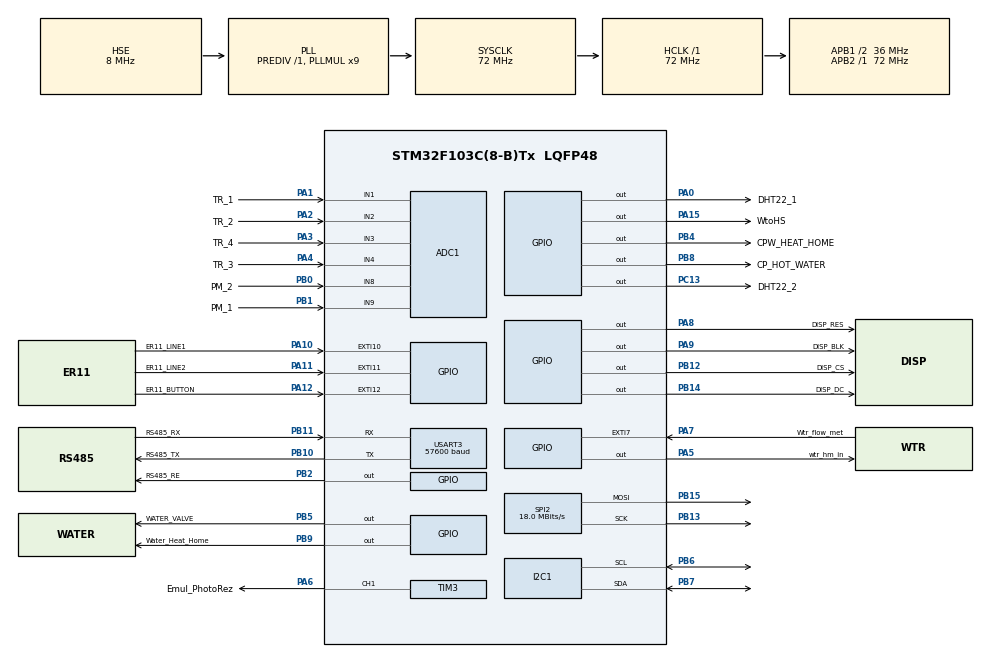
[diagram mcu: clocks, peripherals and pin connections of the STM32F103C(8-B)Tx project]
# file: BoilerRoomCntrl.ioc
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ADC1.Channel-0\#ChannelRegularConversion=ADC_CHANNEL_9
ADC1.NbrOfConversionFlag=1
ADC1.Rank-0\#ChannelRegularConversion=1
ADC1.SamplingTime-0\#ChannelRegularConversion=ADC_SAMPLETIME_1CYCLE_5
ADC1.master=1
Dma.Request0=SPI2_TX
Dma.SPI2_TX.0.Direction=DMA_MEMORY_TO_PERIPH
Dma.SPI2_TX.0.Instance=DMA1_Channel5
Dma.SPI2_TX.0.MemDataAlignment=DMA_MDATAALIGN_BYTE
Dma.SPI2_TX.0.MemInc=DMA_MINC_ENABLE
Dma.SPI2_TX.0.Mode=DMA_CIRCULAR
Dma.SPI2_TX.0.PeriphDataAlignment=DMA_PDATAALIGN_BYTE
Dma.SPI2_TX.0.PeriphInc=DMA_PINC_DISABLE
Dma.SPI2_TX.0.Priority=DMA_PRIORITY_LOW
FREERTOS.Tasks01=defaultTask,0,128,StartDefaultTask,Default,NULL,Dynamic,NULL,NULL;sensReadTask,0,128,StartSensReadTask,Default,NULL,Dynamic,NULL,NULL;dispTask,0,400,StartDispTask,Default,NULL,Dynamic,NULL,NULL
FREERTOS.configUSE_NEWLIB_REENTRANT=1
I2C1.I2C_Mode=I2C_Standard
Mcu.Family=STM32F1
Mcu.Name=STM32F103C(8-B)Tx
Mcu.Package=LQFP48
NVIC.DMA1_Channel5_IRQn=true\:5\:0\:false\:false\:true\:true\:false\:true\:true
NVIC.EXTI15_10_IRQn=true\:5\:0\:false\:false\:true\:false\:true\:true\:true
NVIC.EXTI9_5_IRQn=true\:5\:0\:false\:false\:true\:false\:true\:true\:true
NVIC.I2C1_ER_IRQn=true\:5\:0\:false\:false\:true\:true\:true\:true\:true
NVIC.PriorityGroup=NVIC_PRIORITYGROUP_4
NVIC.TIM1_UP_IRQn=true\:15\:0\:false\:false\:true\:false\:false\:true\:true
NVIC.TIM2_IRQn=true\:5\:0\:false\:false\:true\:true\:true\:true\:true
NVIC.TIM4_IRQn=true\:5\:0\:false\:false\:true\:true\:true\:true\:true
NVIC.TimeBase=TIM1_UP_IRQn
NVIC.TimeBaseIP=TIM1
NVIC.USART3_IRQn=true\:5\:0\:false\:false\:true\:true\:true\:true\:true
PA0-WKUP.GPIO_Label=DHT22_1
PA0-WKUP.Signal=GPIO_Output
PA1.GPIO_Label=TR_1
PA1.Signal=ADCx_IN1
PA10.GPIO_Label=ER11_LINE1
PA10.Signal=GPXTI10
PA11.GPIO_Label=ER11_LINE2
PA11.Signal=GPXTI11
PA12.GPIO_Label=ER11_BUTTON
PA12.GPIO_PuPd=GPIO_NOPULL
PA12.Signal=GPXTI12
PA13.Mode=Serial_Wire
PA13.Signal=SYS_JTMS-SWDIO
PA14.Mode=Serial_Wire
PA14.Signal=SYS_JTCK-SWCLK
PA15.GPIO_Label=WtoHS
PA15.GPIO_PuPd=GPIO_PULLDOWN
PA15.Signal=GPIO_Output
PA2.GPIO_Label=TR_2
PA2.Signal=ADCx_IN2
PA3.GPIO_Label=TR_4
PA3.Signal=ADCx_IN3
PA4.GPIO_Label=TR_3
PA4.Signal=ADCx_IN4
PA5.GPIO_Label=wtr_hm_in
PA5.Signal=GPIO_Output
PA6.GPIO_Label=Emul_PhotoRez
PA6.Signal=S_TIM3_CH1
PA7.GPIO_Label=Wtr_flow_met
PA7.Signal=GPXTI7
PA8.GPIO_Label=DISP_RES
PA8.GPIO_PuPd=GPIO_PULLUP
PA8.Signal=GPIO_Output
PA9.GPIO_Label=DISP_BLK
PA9.GPIO_PuPd=GPIO_PULLDOWN
PA9.Signal=GPIO_Output
PB0.GPIO_Label=PM_2
PB0.Signal=ADCx_IN8
PB1.GPIO_Label=PM_1
PB1.Signal=ADCx_IN9
PB10.GPIO_Label=RS485_TX
PB10.Mode=Asynchronous
PB10.Signal=USART3_TX
PB11.GPIO_Label=RS485_RX
PB11.Mode=Asynchronous
PB11.Signal=USART3_RX
PB12.GPIO_Label=DISP_CS
PB12.GPIO_PuPd=GPIO_PULLUP
PB12.Signal=GPIO_Output
PB13.Mode=TX_Only_Simplex_Unidirect_Master
PB13.Signal=SPI2_SCK
PB14.GPIO_Label=DISP_DC
PB14.GPIO_PuPd=GPIO_PULLUP
PB14.Signal=GPIO_Output
PB15.Mode=TX_Only_Simplex_Unidirect_Master
PB15.Signal=SPI2_MOSI
PB2.GPIO_Label=RS485_RE
PB2.Signal=GPIO_Output
PB4.GPIO_Label=CPW_HEAT_HOME
PB4.GPIO_PuPd=GPIO_PULLDOWN
PB4.Signal=GPIO_Output
PB5.GPIO_Label=WATER_VALVE
PB5.Signal=GPIO_Output
PB6.GPIO_Pu=GPIO_PULLUP
PB6.Mode=I2C
PB6.Signal=I2C1_SCL
PB7.GPIO_Pu=GPIO_PULLUP
PB7.Mode=I2C
PB7.Signal=I2C1_SDA
PB8.GPIO_Label=CP_HOT_WATER
PB8.GPIO_PuPd=GPIO_PULLDOWN
PB8.Signal=GPIO_Output
PB9.GPIO_Label=Water_Heat_Home
PB9.GPIO_PuPd=GPIO_PULLDOWN
PB9.Signal=GPIO_Output
PC13-TAMPER-RTC.GPIO_Label=DHT22_2
PC13-TAMPER-RTC.Signal=GPIO_Output
PC14-OSC32_IN.Mode=LSE-External-Oscillator
PC14-OSC32_IN.Signal=RCC_OSC32_IN
PC15-OSC32_OUT.Mode=LSE-External-Oscillator
PC15-OSC32_OUT.Signal=RCC_OSC32_OUT
PD0-OSC_IN.Mode=HSE-External-Oscillator
PD0-OSC_IN.Signal=RCC_OSC_IN
PD1-OSC_OUT.Mode=HSE-External-Oscillator
PD1-OSC_OUT.Signal=RCC_OSC_OUT
ProjectManager.HeapSize=0x200
ProjectManager.StackSize=0x400
ProjectManager.TargetToolchain=STM32CubeIDE
RCC.ADCPresc=RCC_ADCPCLK2_DIV6
RCC.AHBFreq_Value=72000000
RCC.APB1CLKDivider=RCC_HCLK_DIV2
RCC.APB1Freq_Value=36000000
RCC.APB1TimFreq_Value=72000000
RCC.APB2Freq_Value=72000000
RCC.APB2TimFreq_Value=72000000
RCC.HCLKFreq_Value=72000000
RCC.PLLMUL=RCC_PLL_MUL9
RCC.PLLSourceVirtual=RCC_PLLSOURCE_HSE
RCC.RTCClockSelection=RCC_RTCCLKSOURCE_LSE
RCC.SYSCLKFreq_VALUE=72000000
RCC.SYSCLKSource=RCC_SYSCLKSOURCE_PLLCLK
RCC.USBFreq_Value=72000000
RTC.Date=28
RTC.Format=RTC_FORMAT_BIN
RTC.Minutes=5
RTC.Month=RTC_MONTH_MAY
RTC.WeekDay=RTC_WEEKDAY_THURSDAY
RTC.Year=20
SH.ADCx_IN1.0=ADC1_IN1,IN1
SH.ADCx_IN2.0=ADC1_IN2,IN2
SH.ADCx_IN3.0=ADC1_IN3,IN3
SH.ADCx_IN4.0=ADC1_IN4,IN4
SH.ADCx_IN8.0=ADC1_IN8,IN8
SH.ADCx_IN9.0=ADC1_IN9,IN9
SH.S_TIM3_CH1.0=TIM3_CH1,PWM Generation1 CH1
SPI2.CalculateBaudRate=18.0 MBits/s
SPI2.Direction=SPI_DIRECTION_2LINES
SPI2.Mode=SPI_MODE_MASTER
SPI2.VirtualType=VM_MASTER
TIM3.Channel-PWM\ Generation1\ CH1=TIM_CHANNEL_1
TIM3.Period=65535
TIM3.Prescaler=20
TIM4.Period=1562
TIM4.Prescaler=71
USART3.BaudRate=57600
USART3.VirtualMode=VM_ASYNC
VP_FREERTOS_VS_CMSIS_V1.Mode=CMSIS_V1
VP_RTC_No_RTC_Output.Mode=RTC_OUT_NO
VP_RTC_VS_RTC_Activate.Mode=RTC_Enabled
VP_RTC_VS_RTC_Calendar.Mode=RTC_Calendar
VP_SYS_VS_tim1.Mode=TIM1
VP_TIM2_VS_ClockSourceINT.Mode=Internal
VP_TIM4_VS_ClockSourceINT.Mode=Internal
board=custom

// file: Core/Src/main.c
/* USER CODE BEGIN Header */
/**
  ******************************************************************************
  * @file           : main.c
  * @brief          : Main program body
  ******************************************************************************
  * @attention
  *
  * <h2><center>&copy; Copyright (c) 2020 STMicroelectronics.
  * All rights reserved.</center></h2>
  *
  * This software component is licensed by ST under BSD 3-Clause license,
  * the "License"; You may not use this file except in compliance with the
  * License. You may obtain a copy of the License at:
  *                        opensource.org/licenses/BSD-3-Clause
  *
  ******************************************************************************
  */
/* USER CODE END Header */
#include "main.h"
#include "cmsis_os.h"

/* USER CODE BEGIN Includes */
#include <string.h>
#include "../app/hal_utils.h"
#include "../app/lcd_ui.h"
#include "../app/thermistor_table.h"
#include "../ili9341/fonts.h"
#include "../ili9341/ili9341.h"
#include "DHT.h"
#include "constants.h"
#include "stdint.h"

/* USER CODE END Includes */

/* USER CODE BEGIN PD */

#define INIT_TIME 0

/* USER CODE END PD */

ADC_HandleTypeDef hadc1;

I2C_HandleTypeDef hi2c1;

RTC_HandleTypeDef hrtc;

SPI_HandleTypeDef hspi2;
DMA_HandleTypeDef hdma_spi2_tx;

TIM_HandleTypeDef htim2;
TIM_HandleTypeDef htim3;
TIM_HandleTypeDef htim4;

UART_HandleTypeDef huart3;

osThreadId defaultTaskHandle;
osThreadId sensReadTaskHandle;
osThreadId dispTaskHandle;
/* USER CODE BEGIN PV */

osMutexId sensorDataMutexHandle;

StManagePressHeatingSys managePressHeatingSys;

uint8_t channelsADCTr[] = {
    1, // Терморезистор 1
    2, // Терморезистор 2
    3, // Терморезистор 4
    4, // Терморезистор 3
};
uint8_t channelsADCPm[] = {
    8, // Датчик давления 1
    9  // Датчик давления 2
};

RTC_TimeTypeDef sTime = {0};
RTC_DateTypeDef DateToUpdate = {0};

float DHT22Temp = 0;
float DHT22Hum = 0;
float travg[enTrChanEnd];
float pmavg[enPmChanEnd];
uint32_t pmavgadc[enPmChanEnd];

uint8_t dma_spi_fl = 0;
uint32_t dma_spi_cnt = 1;

/* Global variable definitions (declared extern in main.h) */
uint32_t wtr_flow_met = 0;
int count_lt = 0;
int count_rt = 0;
int8_t enterButton = 0;
int8_t fl_on_off = 0;
uint8_t buff[UART_BUFFER_SIZE] = {0};
uint8_t cout_rcvUART = 0;
uint8_t fl_transmit_485 = 0;
uint8_t fl_endreceive485 = 0;
uint32_t tim4cnt = 0;
ModBusTypeDef modBusData;
uint8_t slaveID = MODBUS_SLAVE_ID;
uint16_t holdingRegs[HOLDING_REGS_SIZE_BR] = {0};

/* DHT global definitions (declared extern in DHT.h) */
uint8_t data[DHT22_DATA_SIZE] = {0};
uint8_t _pin = 0, _type = 0, _count = 0;
unsigned long _lastreadtime = 0;
char firstreading = 1;

/* ILI9341 SPI port */
SPI_HandleTypeDef* ILI9341_SPI_PORT;

/* Menu arrays (declared extern in mymenu.h) - defined in mymenu.c */
char strMenuValsData[menuCountElements][MENU_VALUE_STR_LEN] = {0};
char strMenuValsPoint[menuPCountElements][MENU_VALUE_STR_LEN] = {0};

/* Channel enums */
int enChannelsTr = en_tr1;
int enChannelsPm = en_pm1;

/* Display menu */
stDispMenu dm = {0};

/* USER CODE END PV */

void SystemClock_Config(void);
static void MX_GPIO_Init(void);
static void MX_DMA_Init(void);
static void MX_RTC_Init(void);
static void MX_ADC1_Init(void);
static void MX_I2C1_Init(void);
static void MX_SPI2_Init(void);
static void MX_TIM2_Init(void);
static void MX_TIM3_Init(void);
static void MX_TIM4_Init(void);
static void MX_USART3_UART_Init(void);
void StartDefaultTask(void const* argument);
void StartSensReadTask(void const* argument);
void StartDispTask(void const* argument);

int main(void)
{

    /* MCU Configuration--------------------------------------------------------*/

    /* Reset of all peripherals, Initializes the Flash interface and the Systick. */
    HAL_Init();

    /* Configure the system clock */
    SystemClock_Config();

    /* Initialize all configured peripherals */
    MX_GPIO_Init();
    MX_DMA_Init();
    MX_RTC_Init();
    MX_ADC1_Init();
    MX_I2C1_Init();
    MX_SPI2_Init();
    MX_TIM2_Init();
    MX_TIM3_Init();
    MX_TIM4_Init();
    MX_USART3_UART_Init();
    /* USER CODE BEGIN 2 */
    wtr_flow_met = 0;
    count_lt = 0;
    count_rt = 0;
    enterButton = 1;
    fl_on_off = 0;
    fl_endreceive485 = 0;
    slaveID = 1;
    /* USER CODE END 2 */

    /* USER CODE BEGIN RTOS_TIMERS */
    /* start timers, add new ones, ... */
    HAL_TIM_PWM_Start(&htim3, TIM_CHANNEL_1);
    TIM3->CCR1 = 0;

    /* USER CODE END RTOS_TIMERS */

    /* Create the mutex for shared sensor data */
    osMutexDef(sensorDataMutex);
    sensorDataMutexHandle = osMutexCreate(osMutex(sensorDataMutex));

    /* Create the thread(s) */
    /* definition and creation of defaultTask */
    osThreadDef(defaultTask, StartDefaultTask, osPriorityNormal, 0, TASK_STACK_DEFAULT);
    defaultTaskHandle = osThreadCreate(osThread(defaultTask), NULL);

    /* definition and creation of sensReadTask */
    osThreadDef(sensReadTask, StartSensReadTask, osPriorityNormal, 0, TASK_STACK_SENSOR);
    sensReadTaskHandle = osThreadCreate(osThread(sensReadTask), NULL);

    /* definition and creation of dispTask */
    osThreadDef(dispTask, StartDispTask, osPriorityNormal, 0, TASK_STACK_DISPLAY);
    dispTaskHandle = osThreadCreate(osThread(dispTask), NULL);

    /* Start scheduler */
    osKernelStart();

    /* We should never get here as control is now taken by the scheduler */

    /* Infinite loop */
    while (1) {

    }
}

void SystemClock_Config(void)
{
    RCC_OscInitTypeDef RCC_OscInitStruct = {0};
    RCC_ClkInitTypeDef RCC_ClkInitStruct = {0};
    RCC_PeriphCLKInitTypeDef PeriphClkInit = {0};

    /** Initializes the RCC Oscillators according to the specified parameters
  * in the RCC_OscInitTypeDef structure.
  */
    RCC_OscInitStruct.OscillatorType =
        RCC_OSCILLATORTYPE_HSE | RCC_OSCILLATORTYPE_LSE;
    RCC_OscInitStruct.HSEState = RCC_HSE_ON;
    RCC_OscInitStruct.HSEPredivValue = RCC_HSE_PREDIV_DIV1;
    RCC_OscInitStruct.LSEState = RCC_LSE_ON;
    RCC_OscInitStruct.HSIState = RCC_HSI_ON;
    RCC_OscInitStruct.PLL.PLLState = RCC_PLL_ON;
    RCC_OscInitStruct.PLL.PLLSource = RCC_PLLSOURCE_HSE;
    RCC_OscInitStruct.PLL.PLLMUL = RCC_PLL_MUL9;
    if (HAL_RCC_OscConfig(&RCC_OscInitStruct) != HAL_OK) {
        Error_Handler();
    }

    /** Initializes the CPU, AHB and APB buses clocks
  */
    RCC_ClkInitStruct.ClockType = RCC_CLOCKTYPE_HCLK | RCC_CLOCKTYPE_SYSCLK |
                                  RCC_CLOCKTYPE_PCLK1 | RCC_CLOCKTYPE_PCLK2;
    RCC_ClkInitStruct.SYSCLKSource = RCC_SYSCLKSOURCE_PLLCLK;
    RCC_ClkInitStruct.AHBCLKDivider = RCC_SYSCLK_DIV1;
    RCC_ClkInitStruct.APB1CLKDivider = RCC_HCLK_DIV2;
    RCC_ClkInitStruct.APB2CLKDivider = RCC_HCLK_DIV1;

    if (HAL_RCC_ClockConfig(&RCC_ClkInitStruct, FLASH_LATENCY_2) != HAL_OK) {
        Error_Handler();
    }
    PeriphClkInit.PeriphClockSelection = RCC_PERIPHCLK_RTC | RCC_PERIPHCLK_ADC;
    PeriphClkInit.RTCClockSelection = RCC_RTCCLKSOURCE_LSE;
    PeriphClkInit.AdcClockSelection = RCC_ADCPCLK2_DIV6;
    if (HAL_RCCEx_PeriphCLKConfig(&PeriphClkInit) != HAL_OK) {
        Error_Handler();
    }
}

static void MX_ADC1_Init(void)
{

    ADC_ChannelConfTypeDef sConfig = {0};

    /** Common config
  */
    hadc1.Instance = ADC1;
    hadc1.Init.ScanConvMode = ADC_SCAN_DISABLE;
    hadc1.Init.ContinuousConvMode = DISABLE;
    hadc1.Init.DiscontinuousConvMode = DISABLE;
    hadc1.Init.ExternalTrigConv = ADC_SOFTWARE_START;
    hadc1.Init.DataAlign = ADC_DATAALIGN_RIGHT;
    hadc1.Init.NbrOfConversion = 1;
    if (HAL_ADC_Init(&hadc1) != HAL_OK) {
        Error_Handler();
    }

    /** Configure Regular Channel
  */
    sConfig.Channel = ADC_CHANNEL_9;
    sConfig.Rank = ADC_REGULAR_RANK_1;
    sConfig.SamplingTime = ADC_SAMPLETIME_1CYCLE_5;
    if (HAL_ADC_ConfigChannel(&hadc1, &sConfig) != HAL_OK) {
        Error_Handler();
    }
}

static void MX_I2C1_Init(void)
{

    hi2c1.Instance = I2C1;
    hi2c1.Init.ClockSpeed = I2C_CLOCK_SPEED;
    hi2c1.Init.DutyCycle = I2C_DUTYCYCLE_2;
    hi2c1.Init.OwnAddress1 = 0;
    hi2c1.Init.AddressingMode = I2C_ADDRESSINGMODE_7BIT;
    hi2c1.Init.DualAddressMode = I2C_DUALADDRESS_DISABLE;
    hi2c1.Init.OwnAddress2 = 0;
    hi2c1.Init.GeneralCallMode = I2C_GENERALCALL_DISABLE;
    hi2c1.Init.NoStretchMode = I2C_NOSTRETCH_DISABLE;
    if (HAL_I2C_Init(&hi2c1) != HAL_OK) {
        Error_Handler();
    }
}

static void MX_RTC_Init(void)
{

    /** Initialize RTC Only
  */
    hrtc.Instance = RTC;
    hrtc.Init.AsynchPrediv = RTC_AUTO_1_SECOND;
    hrtc.Init.OutPut = RTC_OUTPUTSOURCE_NONE;
    if (HAL_RTC_Init(&hrtc) != HAL_OK) {
        Error_Handler();
    }

    /* USER CODE BEGIN Check_RTC_BKUP */
    if (INIT_TIME) {
        /* USER CODE END Check_RTC_BKUP */

        /** Initialize RTC and set the Time and Date
  */
        sTime.Hours = RTC_DEFAULT_HOUR;
        sTime.Minutes = RTC_DEFAULT_MINUTE;
        sTime.Seconds = RTC_DEFAULT_SECOND;

        if (HAL_RTC_SetTime(&hrtc, &sTime, RTC_FORMAT_BIN) != HAL_OK) {
            Error_Handler();
        }
        DateToUpdate.WeekDay = RTC_WEEKDAY_MONDAY;
        DateToUpdate.Month = RTC_DEFAULT_MONTH;
        DateToUpdate.Date = RTC_DEFAULT_DAY;
        DateToUpdate.Year = RTC_DEFAULT_YEAR;

        if (HAL_RTC_SetDate(&hrtc, &DateToUpdate, RTC_FORMAT_BIN) != HAL_OK) {
            Error_Handler();
        }
    }
}

static void MX_SPI2_Init(void)
{

    /* SPI2 parameter configuration*/
    hspi2.Instance = SPI2;
    hspi2.Init.Mode = SPI_MODE_MASTER;
    hspi2.Init.Direction = SPI_DIRECTION_2LINES;
    hspi2.Init.DataSize = SPI_DATASIZE_8BIT;
    hspi2.Init.CLKPolarity = SPI_POLARITY_LOW;
    hspi2.Init.CLKPhase = SPI_PHASE_1EDGE;
    hspi2.Init.NSS = SPI_NSS_SOFT;
    hspi2.Init.BaudRatePrescaler = SPI_BAUDRATEPRESCALER_2;
    hspi2.Init.FirstBit = SPI_FIRSTBIT_MSB;
    hspi2.Init.TIMode = SPI_TIMODE_DISABLE;
    hspi2.Init.CRCCalculation = SPI_CRCCALCULATION_DISABLE;
    hspi2.Init.CRCPolynomial = 10;
    if (HAL_SPI_Init(&hspi2) != HAL_OK) {
        Error_Handler();
    }
}

static void MX_TIM2_Init(void)
{

    TIM_ClockConfigTypeDef sClockSourceConfig = {0};
    TIM_MasterConfigTypeDef sMasterConfig = {0};

    htim2.Instance = TIM2;
    htim2.Init.Prescaler = 0;
    htim2.Init.CounterMode = TIM_COUNTERMODE_UP;
    htim2.Init.Period = 65535;
    htim2.Init.ClockDivision = TIM_CLOCKDIVISION_DIV1;
    htim2.Init.AutoReloadPreload = TIM_AUTORELOAD_PRELOAD_DISABLE;
    if (HAL_TIM_Base_Init(&htim2) != HAL_OK) {
        Error_Handler();
    }
    sClockSourceConfig.ClockSource = TIM_CLOCKSOURCE_INTERNAL;
    if (HAL_TIM_ConfigClockSource(&htim2, &sClockSourceConfig) != HAL_OK) {
        Error_Handler();
    }
    sMasterConfig.MasterOutputTrigger = TIM_TRGO_RESET;
    sMasterConfig.MasterSlaveMode = TIM_MASTERSLAVEMODE_DISABLE;
    if (HAL_TIMEx_MasterConfigSynchronization(&htim2, &sMasterConfig) !=
        HAL_OK) {
        Error_Handler();
    }
}

static void MX_TIM3_Init(void)
{

    TIM_MasterConfigTypeDef sMasterConfig = {0};
    TIM_OC_InitTypeDef sConfigOC = {0};

    htim3.Instance = TIM3;
    htim3.Init.Prescaler = 20;
    htim3.Init.CounterMode = TIM_COUNTERMODE_UP;
    htim3.Init.Period = 65535;
    htim3.Init.ClockDivision = TIM_CLOCKDIVISION_DIV1;
    htim3.Init.AutoReloadPreload = TIM_AUTORELOAD_PRELOAD_DISABLE;
    if (HAL_TIM_PWM_Init(&htim3) != HAL_OK) {
        Error_Handler();
    }
    sMasterConfig.MasterOutputTrigger = TIM_TRGO_RESET;
    sMasterConfig.MasterSlaveMode = TIM_MASTERSLAVEMODE_DISABLE;
    if (HAL_TIMEx_MasterConfigSynchronization(&htim3, &sMasterConfig) !=
        HAL_OK) {
        Error_Handler();
    }
    sConfigOC.OCMode = TIM_OCMODE_PWM1;
    sConfigOC.Pulse = 0;
    sConfigOC.OCPolarity = TIM_OCPOLARITY_HIGH;
    sConfigOC.OCFastMode = TIM_OCFAST_DISABLE;
    if (HAL_TIM_PWM_ConfigChannel(&htim3, &sConfigOC, TIM_CHANNEL_1) !=
        HAL_OK) {
        Error_Handler();
    }
    HAL_TIM_MspPostInit(&htim3);
}

static void MX_TIM4_Init(void)
{

    TIM_ClockConfigTypeDef sClockSourceConfig = {0};
    TIM_MasterConfigTypeDef sMasterConfig = {0};

    htim4.Instance = TIM4;
    htim4.Init.Prescaler = 71;
    htim4.Init.CounterMode = TIM_COUNTERMODE_UP;
    htim4.Init.Period = 1562;
    htim4.Init.ClockDivision = TIM_CLOCKDIVISION_DIV1;
    htim4.Init.AutoReloadPreload = TIM_AUTORELOAD_PRELOAD_DISABLE;
    if (HAL_TIM_Base_Init(&htim4) != HAL_OK) {
        Error_Handler();
    }
    sClockSourceConfig.ClockSource = TIM_CLOCKSOURCE_INTERNAL;
    if (HAL_TIM_ConfigClockSource(&htim4, &sClockSourceConfig) != HAL_OK) {
        Error_Handler();
    }
    sMasterConfig.MasterOutputTrigger = TIM_TRGO_RESET;
    sMasterConfig.MasterSlaveMode = TIM_MASTERSLAVEMODE_DISABLE;
    if (HAL_TIMEx_MasterConfigSynchronization(&htim4, &sMasterConfig) !=
        HAL_OK) {
        Error_Handler();
    }
}

static void MX_USART3_UART_Init(void)
{

    huart3.Instance = USART3;
    huart3.Init.BaudRate = 57600;
    huart3.Init.WordLength = UART_WORDLENGTH_8B;
    huart3.Init.StopBits = UART_STOPBITS_1;
    huart3.Init.Parity = UART_PARITY_NONE;
    huart3.Init.Mode = UART_MODE_TX_RX;
    huart3.Init.HwFlowCtl = UART_HWCONTROL_NONE;
    huart3.Init.OverSampling = UART_OVERSAMPLING_16;
    if (HAL_UART_Init(&huart3) != HAL_OK) {
        Error_Handler();
    }
}

static void MX_DMA_Init(void)
{
    /* DMA controller clock enable */
    __HAL_RCC_DMA1_CLK_ENABLE();

    /* DMA interrupt init */
    /* DMA1_Channel5_IRQn interrupt configuration */
    HAL_NVIC_SetPriority(DMA1_Channel5_IRQn, 5, 0);
    HAL_NVIC_EnableIRQ(DMA1_Channel5_IRQn);
}

static void MX_GPIO_Init(void)
{
    GPIO_InitTypeDef GPIO_InitStruct = {0};

    /* GPIO Ports Clock Enable */
    __HAL_RCC_GPIOC_CLK_ENABLE();
    __HAL_RCC_GPIOD_CLK_ENABLE();
    __HAL_RCC_GPIOA_CLK_ENABLE();
    __HAL_RCC_GPIOB_CLK_ENABLE();

    /*Configure GPIO pin Output Level */
    HAL_GPIO_WritePin(DHT22_2_GPIO_Port, DHT22_2_Pin, GPIO_PIN_RESET);

    /*Configure GPIO pin Output Level */
    HAL_GPIO_WritePin(GPIOA,
                      DHT22_1_Pin | wtr_hm_in_Pin | DISP_RES_Pin |
                          DISP_BLK_Pin | WtoHS_Pin,
                      GPIO_PIN_RESET);

    /*Configure GPIO pin Output Level */
    HAL_GPIO_WritePin(GPIOB,
                      RS485_RE_Pin | DISP_CS_Pin | DISP_DC_Pin |
                          CPW_HEAT_HOME_Pin | WATER_VALVE_Pin |
                          CP_HOT_WATER_Pin | Water_Heat_Home_Pin,
                      GPIO_PIN_RESET);

    /*Configure GPIO pin : DHT22_2_Pin */
    GPIO_InitStruct.Pin = DHT22_2_Pin;
    GPIO_InitStruct.Mode = GPIO_MODE_OUTPUT_PP;
    GPIO_InitStruct.Pull = GPIO_NOPULL;
    GPIO_InitStruct.Speed = GPIO_SPEED_FREQ_LOW;
    HAL_GPIO_Init(DHT22_2_GPIO_Port, &GPIO_InitStruct);

    /*Configure GPIO pins : DHT22_1_Pin wtr_hm_in_Pin */
    GPIO_InitStruct.Pin = DHT22_1_Pin | wtr_hm_in_Pin;
    GPIO_InitStruct.Mode = GPIO_MODE_OUTPUT_PP;
    GPIO_InitStruct.Pull = GPIO_NOPULL;
    GPIO_InitStruct.Speed = GPIO_SPEED_FREQ_LOW;
    HAL_GPIO_Init(GPIOA, &GPIO_InitStruct);

    /*Configure GPIO pin : Wtr_flow_met_Pin */
    GPIO_InitStruct.Pin = Wtr_flow_met_Pin;
    GPIO_InitStruct.Mode = GPIO_MODE_IT_RISING;
    GPIO_InitStruct.Pull = GPIO_NOPULL;
    HAL_GPIO_Init(GPIOA, &GPIO_InitStruct);

    /*Configure GPIO pins : ER11_LINE1_Pin ER11_LINE2_Pin (quadrature encoder) */
    GPIO_InitStruct.Pin = ER11_LINE1_Pin | ER11_LINE2_Pin;
    GPIO_InitStruct.Mode = GPIO_MODE_IT_RISING_FALLING;
    GPIO_InitStruct.Pull = GPIO_PULLUP;
    HAL_GPIO_Init(GPIOA, &GPIO_InitStruct);

    /*Configure GPIO pin : ER11_BUTTON_Pin */
    GPIO_InitStruct.Pin = ER11_BUTTON_Pin;
    GPIO_InitStruct.Mode = GPIO_MODE_IT_RISING;
    GPIO_InitStruct.Pull = GPIO_NOPULL;
    HAL_GPIO_Init(GPIOA, &GPIO_InitStruct);

    /*Configure GPIO pins : RS485_RE_Pin WATER_VALVE_Pin */
    GPIO_InitStruct.Pin = RS485_RE_Pin | WATER_VALVE_Pin;
    GPIO_InitStruct.Mode = GPIO_MODE_OUTPUT_PP;
    GPIO_InitStruct.Pull = GPIO_NOPULL;
    GPIO_InitStruct.Speed = GPIO_SPEED_FREQ_LOW;
    HAL_GPIO_Init(GPIOB, &GPIO_InitStruct);

    /*Configure GPIO pins : DISP_CS_Pin DISP_DC_Pin */
    GPIO_InitStruct.Pin = DISP_CS_Pin | DISP_DC_Pin;
    GPIO_InitStruct.Mode = GPIO_MODE_OUTPUT_PP;
    GPIO_InitStruct.Pull = GPIO_PULLUP;
    GPIO_InitStruct.Speed = GPIO_SPEED_FREQ_LOW;
    HAL_GPIO_Init(GPIOB, &GPIO_InitStruct);

    /*Configure GPIO pin : DISP_RES_Pin */
    GPIO_InitStruct.Pin = DISP_RES_Pin;
    GPIO_InitStruct.Mode = GPIO_MODE_OUTPUT_PP;
    GPIO_InitStruct.Pull = GPIO_PULLUP;
    GPIO_InitStruct.Speed = GPIO_SPEED_FREQ_LOW;
    HAL_GPIO_Init(DISP_RES_GPIO_Port, &GPIO_InitStruct);

    /*Configure GPIO pins : DISP_BLK_Pin WtoHS_Pin */
    GPIO_InitStruct.Pin = DISP_BLK_Pin | WtoHS_Pin;
    GPIO_InitStruct.Mode = GPIO_MODE_OUTPUT_PP;
    GPIO_InitStruct.Pull = GPIO_PULLDOWN;
    GPIO_InitStruct.Speed = GPIO_SPEED_FREQ_LOW;
    HAL_GPIO_Init(GPIOA, &GPIO_InitStruct);

    /*Configure GPIO pins : CPW_HEAT_HOME_Pin CP_HOT_WATER_Pin Water_Heat_Home_Pin */
    GPIO_InitStruct.Pin =
        CPW_HEAT_HOME_Pin | CP_HOT_WATER_Pin | Water_Heat_Home_Pin;
    GPIO_InitStruct.Mode = GPIO_MODE_OUTPUT_PP;
    GPIO_InitStruct.Pull = GPIO_PULLDOWN;
    GPIO_InitStruct.Speed = GPIO_SPEED_FREQ_LOW;
    HAL_GPIO_Init(GPIOB, &GPIO_InitStruct);

    /* EXTI interrupt init*/
    HAL_NVIC_SetPriority(EXTI9_5_IRQn, 5, 0);
    HAL_NVIC_EnableIRQ(EXTI9_5_IRQn);

    HAL_NVIC_SetPriority(EXTI15_10_IRQn, 5, 0);
    HAL_NVIC_EnableIRQ(EXTI15_10_IRQn);

}

void StartDefaultTask(void const* argument)
{
    /* USER CODE BEGIN 5 */
    osDelay(DELAY_INIT_MS);
    const char wmsg[] = "Some data";
    char rmsg[sizeof(wmsg)];
    uint16_t devAddr = (I2C_EEPROM_ADDR << 1);
    uint16_t memAddr = I2C_MEM_ADDR_INIT;

    HAL_StatusTypeDef status;

    HAL_GPIO_WritePin(RS485_RE_GPIO_Port, RS485_RE_Pin, GPIO_PIN_RESET);
    modbus_configure(&modBusData, &huart3, slaveID, HOLDING_REGS_SIZE_BR,
                     holdingRegs);
    RCC->APB1ENR |= RCC_APB1ENR_USART3EN; // USART3 Clock ON
    USART3->CR1 |= USART_CR1_UE | USART_CR1_TE |
                   USART_CR1_RE |    // USART1 ON, TX ON, RX ON
                   USART_CR1_RXNEIE; // RXNE Int ON
    NVIC_EnableIRQ(USART3_IRQn);

    HAL_I2C_Mem_Write(&hi2c1, devAddr, memAddr, I2C_MEMADD_SIZE_16BIT,
                      (uint8_t*)wmsg, sizeof(wmsg), HAL_MAX_DELAY);
    for (;;) {
        status = HAL_I2C_IsDeviceReady(&hi2c1, devAddr, 1, HAL_MAX_DELAY);
        if (status == HAL_OK) {
            // !!!Чтобы заработало необходимо в stm32f1xx_hal_msp.c ///
            //    перенести __HAL_RCC_I2C1_CLK_ENABLE(); до                 ///
            //    __HAL_RCC_GPIOB_CLK_ENABLE();                                            ///
            HAL_I2C_Mem_Read(&hi2c1, devAddr, memAddr, I2C_MEMADD_SIZE_16BIT,
                             (uint8_t*)rmsg, sizeof(wmsg), I2C_TIMEOUT_MS);
        }
    }
    /* USER CODE END 5 */
}

void StartSensReadTask(void const* argument)
{
    /* USER CODE BEGIN StartSensReadTask */

    osDelay(DELAY_SENSOR_INIT_MS);
    DWT_Init();
    begin(DHT22_2_GPIO_Port, DHT22_2_Pin);

    HAL_ADCEx_Calibration_Start(&hadc1);

    int ADC; //ij = tTR_temper_volt_arr[0];
    float Rt;
    float RI;
    float RI_1;
    uint32_t start_time = millis();
    uint32_t update_time = DELAY_TIME_BASE_MS;
    char hum_mes = 1;
    char tmp_mes = 1;
    initManagePressHeatingSys(&managePressHeatingSys, PM_1_GPIO_Port, PM_1_Pin);

    /* Infinite loop */
    for (;;) {
        if (((start_time + update_time) < millis()) & tmp_mes) {
            float temp = readTemperature(DHT22_2_GPIO_Port, DHT22_2_Pin, 0x00);
            osMutexWait(sensorDataMutexHandle, osWaitForever);
            DHT22Temp = temp;
            osMutexRelease(sensorDataMutexHandle);
            start_time = millis();
            hum_mes = 1;
            tmp_mes = 0;
        }
        if (((start_time + update_time) < millis()) & hum_mes) {
            float hum = readHumidity(DHT22_2_GPIO_Port, DHT22_2_Pin);
            osMutexWait(sensorDataMutexHandle, osWaitForever);
            DHT22Hum = hum;
            osMutexRelease(sensorDataMutexHandle);
            start_time = millis();
            hum_mes = 0;
            tmp_mes = 1;
        }
        for (uint8_t j = 0; j < enTrChanEnd; j++) {
            ADC = ADC_Result(&hadc1, channelsADCTr[j]);
            Rt = THERMISTOR_BASE_R * ((THERMISTOR_REF_R * ADC) / (VOLT_DIV_4095 - ADC));
            for (uint8_t i = 0; i < THERMISTOR_TABLE_SIZE; i++) {
                if (Rt > tTR_temper_volt_arr[i]) {
                    RI = tTR_temper_volt_arr[i];
                    RI_1 = tTR_temper_volt_arr[i - 1];
                    float tval = Rt / (RI - RI_1) - RI_1 / (RI - RI_1) + i - THERMISTOR_BASE_OFFSET;
                    osMutexWait(sensorDataMutexHandle, osWaitForever);
                    travg[j] = tval;
                    osMutexRelease(sensorDataMutexHandle);
                    break;
                }
            }
        }

        for (uint8_t i = 0; i < enPmChanEnd; i++) {
            pmavgadc[i] = ADC_Result(&hadc1, channelsADCPm[i]);
            Rt = pmavgadc[i];
            Rt = Rt / VOLT_DIV_4095_DIV * PRESSURE_REF_VOLT * PRESSURE_SCALE;
            float pval = (Rt * PRESSURE_MULT - PRESSURE_OFFSET) / PRESSURE_DIV;
            osMutexWait(sensorDataMutexHandle, osWaitForever);
            pmavg[i] = pval;
            osMutexRelease(sensorDataMutexHandle);
        }

        workManagePressHeatingSys(&managePressHeatingSys, pmavgadc[en_pm1],
                                  millis());

        osDelay(1);
    }
    /* USER CODE END StartSensReadTask */
}

/* USER CODE BEGIN Header_StartDispTask */
void HAL_SPI_TxCpltCallback(SPI_HandleTypeDef* hspi)
{
    if (hspi == &hspi2) {
        dma_spi_cnt--;
        if (dma_spi_cnt == 0) {
            HAL_SPI_DMAStop(&hspi2);
            dma_spi_cnt = 1;
            dma_spi_fl = 1;
        }
    }
}
/**
* @brief Function implementing the dispTask thread.
* @param argument: Not used
* @retval None
*/
/* USER CODE END Header_StartDispTask */
void StartDispTask(void const* argument)
{
    /* USER CODE BEGIN StartDispTask */
    /* Infinite loop */

    osDelay(DELAY_SENSOR_INIT_MS);

    HAL_GPIO_WritePin(DISP_BLK_GPIO_Port, DISP_BLK_Pin, GPIO_PIN_SET);

    init_ILI9341(&hspi2);

    disp_init(&dm);

    for (int i = 0; i < menuCountElements; i++) {
        memcpy(&strMenuValsData[i][0], str_clear, MENU_VALUE_STR_LEN);
    }
    for (int i = 0; i < menuPCountElements; i++) {
        memcpy(&strMenuValsPoint[i][0], str_clear, MENU_VALUE_STR_LEN);
    }

    disp_poweron(&dm);

    for (;;) {
        static uint32_t last_time_update = 0;
        uint32_t now = HAL_GetTick();

        // Update time every DELAY_TIME_UPDATE_MS
        if (now - last_time_update >= DELAY_TIME_UPDATE_MS) {
            disp_time_view(&dm, &hrtc, &sTime, &DateToUpdate);
            last_time_update = now;
        }

        // Переносим данные в строки (protected by mutex)
        osMutexWait(sensorDataMutexHandle, osWaitForever);
        float loc_dhtTemp = DHT22Temp;
        float loc_dhtHum = DHT22Hum;
        float loc_tr1 = travg[en_tr1];
        float loc_tr2 = travg[en_tr2];
        float loc_tr3 = travg[en_tr3];
        float loc_tr4 = travg[en_tr4];
        float loc_pm2 = pmavg[en_pm2];
        osMutexRelease(sensorDataMutexHandle);

        fltochar(&strMenuValsData[menuDHT22_1_temp][0], loc_dhtTemp);
        fltochar(&strMenuValsData[menuDHT22_1_humd][0], loc_dhtHum);
        fltochar(&strMenuValsData[menuTRez_1][0], loc_tr1);
        fltochar(&strMenuValsData[menuTRez_2][0], loc_tr2);
        fltochar(&strMenuValsData[menuTRez_3][0], loc_tr3);
        fltochar(&strMenuValsData[menuTRez_4][0], loc_tr4);
        fltochar(&strMenuValsData[menuPres_1][0],
                 managePressHeatingSys.previousPress);
        fltochar(&strMenuValsData[menuPres_2][0], loc_pm2);
        inttochar(&strMenuValsData[menuWtrCounter][0], wtr_flow_met);
        inttochar(&strMenuValsData[menuPWMTermRez][0], dm.pwm_tmp);
        fltochar(&strMenuValsData[menuDHT22_1_humd][0], loc_dhtHum);

        fltochar(&strMenuValsPoint[menuDHT22_1_humd][0], loc_dhtHum);

        // Always update time edit values display
        {
            RTC_TimeTypeDef sTimeRead = {0};
            RTC_DateTypeDef sDateRead = {0};
            int display_hour, display_minute, display_second, display_day, display_month, display_year;

            if (dm.time_edit_mode) {
                // Show temp values while editing
                display_hour = dm.time_tmp_hour;
                display_minute = dm.time_tmp_minute;
                display_second = dm.time_tmp_second;
                display_day = dm.time_tmp_day;
                display_month = dm.time_tmp_month;
                display_year = dm.time_tmp_year;
            } else {
                // Show actual RTC time otherwise
                HAL_RTC_GetTime(&hrtc, &sTimeRead, RTC_FORMAT_BIN);
                HAL_RTC_GetDate(&hrtc, &sDateRead, RTC_FORMAT_BIN);
                display_hour = sTimeRead.Hours;
                display_minute = sTimeRead.Minutes;
                display_second = sTimeRead.Seconds;
                display_day = sDateRead.Date;
                display_month = sDateRead.Month;
                display_year = sDateRead.Year;
            }

            inttochar(&strMenuValsPoint[menuTimeHour][0], display_hour);
            inttochar(&strMenuValsPoint[menuTimeMinute][0], display_minute);
            inttochar(&strMenuValsPoint[menuTimeSecond][0], display_second);
            inttochar(&strMenuValsPoint[menuTimeDay][0], display_day);
            inttochar(&strMenuValsPoint[menuTimeMonth][0], display_month);
            inttochar(&strMenuValsPoint[menuTimeYear][0], display_year);
        }
        // КОНЕЦ Переносим данные в строки

        disp_button_press(&dm, &hrtc);

        disp_out_lines(&dm, Font_12x15);

        disp_point_edit(&dm);

        disp_curs_view(&dm, Font_12x15);
    }
    /* USER CODE END StartDispTask */
}

void HAL_TIM_PeriodElapsedCallback(TIM_HandleTypeDef* htim)
{
    if (htim->Instance == TIM1) {
        HAL_IncTick();
    }
}

void Error_Handler(void)
{
}

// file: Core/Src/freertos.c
/* USER CODE BEGIN Header */
/**
  ******************************************************************************
  * File Name          : freertos.c
  * Description        : Code for freertos applications
  ******************************************************************************
  * @attention
  *
  * <h2><center>&copy; Copyright (c) 2020 STMicroelectronics.
  * All rights reserved.</center></h2>
  *
  * This software component is licensed by ST under Ultimate Liberty license
  * SLA0044, the "License"; You may not use this file except in compliance with
  * the License. You may obtain a copy of the License at:
  *                             www.st.com/SLA0044
  *
  ******************************************************************************
  */
/* USER CODE END Header */

#include "FreeRTOS.h"
#include "main.h"
#include "task.h"

/* GetIdleTaskMemory prototype (linked to static allocation support) */
void vApplicationGetIdleTaskMemory(StaticTask_t** ppxIdleTaskTCBBuffer,
                                   StackType_t** ppxIdleTaskStackBuffer,
                                   uint32_t* pulIdleTaskStackSize);

/* USER CODE BEGIN GET_IDLE_TASK_MEMORY */
static StaticTask_t xIdleTaskTCBBuffer;
static StackType_t xIdleStack[configMINIMAL_STACK_SIZE];

void vApplicationGetIdleTaskMemory(StaticTask_t** ppxIdleTaskTCBBuffer,
                                   StackType_t** ppxIdleTaskStackBuffer,
                                   uint32_t* pulIdleTaskStackSize)
{
    *ppxIdleTaskTCBBuffer = &xIdleTaskTCBBuffer;
    *ppxIdleTaskStackBuffer = &xIdleStack[0];
    *pulIdleTaskStackSize = configMINIMAL_STACK_SIZE;
    /* place for user code */
}
/* USER CODE END GET_IDLE_TASK_MEMORY */
